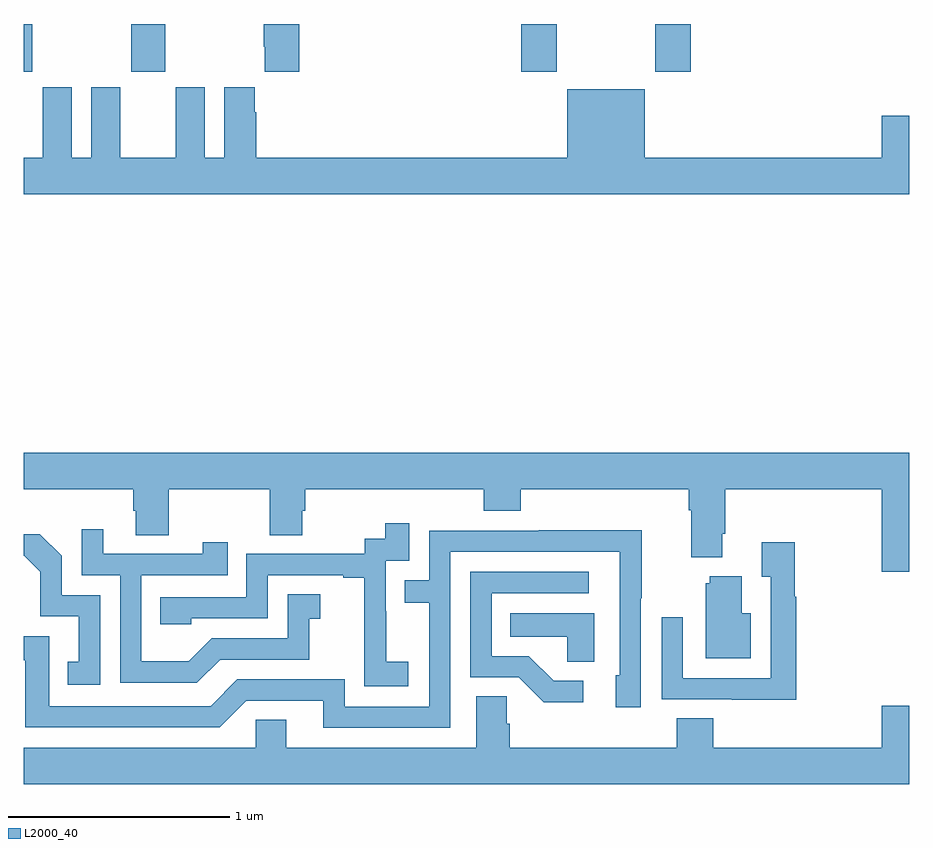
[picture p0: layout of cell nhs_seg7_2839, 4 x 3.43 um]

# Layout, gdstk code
import gdstk
lib = gdstk.Library(unit=1e-6, precision=1e-09)
def R(c, l, rs):  # rectangles x0, y0, x1, y1
    for r in rs: c.add(gdstk.rectangle(r[:2], r[2:], *l))
def P(c, l, *ps):  # polygons
    for p in ps: c.add(gdstk.Polygon(p, *l))
L2000_40 = (2000, 40)

nhs_seg7_2839 = lib.new_cell('nhs_seg7_2839')
R(nhs_seg7_2839, L2000_40, [(293,1051.785,293.04,1052), (293.485,1051.785,293.64,1052), (295.247,1051.785,295.407,1052), (295.852,1051.785,296.012,1052)])
P(nhs_seg7_2839, L2000_40, [(294.245,1052),(294.085,1052),(294.085,1051.897),(294.089,1051.897),(294.089,1051.785),(294.245,1051.785)],
  [(297,1051.585),(296.876,1051.585),(296.876,1051.396),(295.804,1051.396),(295.804,1051.705),(295.454,1051.705),(295.454,1051.396),(294.05,1051.396),(294.05,1051.601),(294.043,1051.601),(294.043,1051.714),(293.906,1051.714),(293.906,1051.396),(293.818,1051.396),(293.818,1051.714),(293.687,1051.714),(293.687,1051.396),(293.437,1051.396),(293.437,1051.714),(293.306,1051.714),(293.306,1051.396),(293.218,1051.396),(293.218,1051.714),(293.087,1051.714),(293.087,1051.396),(293,1051.396),(293,1051.232),(297,1051.232)],
  [(297,1050.064),(293,1050.064),(293,1049.9),(293.495,1049.9),(293.495,1049.802),(293.507,1049.802),(293.507,1049.692),(293.655,1049.692),(293.655,1049.9),(294.112,1049.9),(294.112,1049.692),(294.259,1049.692),(294.259,1049.802),(294.272,1049.802),(294.272,1049.9),(295.079,1049.9),(295.079,1049.801),(295.244,1049.801),(295.244,1049.9),(296.003,1049.9),(296.003,1049.804),(296.015,1049.804),(296.015,1049.591),(296.155,1049.591),(296.155,1049.698),(296.168,1049.698),(296.168,1049.9),(296.876,1049.9),(296.876,1049.526),(297,1049.526)],
  [(294.736,1049.119),(294.638,1049.119),(294.638,1049.348),(294.636,1049.348),(294.636,1049.577),(294.741,1049.577),(294.741,1049.746),(294.633,1049.746),(294.633,1049.676),(294.54,1049.676),(294.54,1049.607),(294.006,1049.607),(294.006,1049.412),(293.617,1049.412),(293.617,1049.289),(293.757,1049.289),(293.757,1049.316),(294.102,1049.316),(294.102,1049.511),(294.443,1049.511),(294.443,1049.499),(294.539,1049.499),(294.539,1049.215),(294.538,1049.215),(294.538,1049.009),(294.736,1049.009)],
  [(293.887,1049.13),(294.291,1049.13),(294.291,1049.315),(294.34,1049.315),(294.34,1049.425),(294.192,1049.425),(294.192,1049.226),(293.85,1049.226),(293.746,1049.122),(293.532,1049.122),(293.532,1049.511),(293.921,1049.511),(293.921,1049.659),(293.81,1049.659),(293.81,1049.607),(293.359,1049.607),(293.359,1049.719),(293.262,1049.719),(293.262,1049.511),(293.436,1049.511),(293.436,1049.025),(293.782,1049.025)],
  [(294.927,1049.616),(295.692,1049.616),(295.692,1049.058),(295.673,1049.058),(295.673,1048.914),(295.788,1048.914),(295.788,1049.407),(295.791,1049.407),(295.791,1049.714),(295.327,1049.714),(295.327,1049.712),(294.831,1049.712),(294.831,1049.487),(294.721,1049.487),(294.721,1049.386),(294.831,1049.386),(294.831,1048.917),(294.45,1048.917),(294.45,1049.04),(293.964,1049.04),(293.844,1048.92),(293.115,1048.92),(293.115,1049.235),(293,1049.235),(293,1049.127),(293.007,1049.127),(293.007,1048.824),(293.886,1048.824),(294.006,1048.944),(294.353,1048.944),(294.353,1048.821),(294.927,1048.821)],
  [(293.346,1049.421),(293.172,1049.421),(293.172,1049.598),(293.074,1049.696),(293,1049.696),(293,1049.598),(293.004,1049.598),(293.076,1049.526),(293.076,1049.325),(293.249,1049.325),(293.249,1049.121),(293.2,1049.121),(293.2,1049.016),(293.346,1049.016)],
  [(296.489,1049.414),(296.482,1049.414),(296.482,1049.659),(296.333,1049.659),(296.333,1049.503),(296.373,1049.503),(296.373,1049.046),(295.977,1049.046),(295.977,1049.32),(295.881,1049.32),(295.881,1048.95),(296.197,1048.95),(296.197,1048.949),(296.489,1048.949)],
  [(295.528,1049.034),(295.393,1049.034),(295.282,1049.145),(295.113,1049.145),(295.113,1049.43),(295.552,1049.43),(295.552,1049.526),(295.017,1049.526),(295.017,1049.049),(295.236,1049.049),(295.349,1048.937),(295.528,1048.937)],
  [(296.284,1049.338),(296.242,1049.338),(296.242,1049.506),(296.099,1049.506),(296.099,1049.475),(296.081,1049.475),(296.081,1049.135),(296.284,1049.135)],
  [(295.576,1049.338),(295.198,1049.338),(295.198,1049.234),(295.455,1049.234),(295.455,1049.119),(295.576,1049.119)],
  [(297,1048.921),(296.876,1048.921),(296.876,1048.732),(296.114,1048.732),(296.114,1048.865),(295.949,1048.865),(295.949,1048.732),(295.196,1048.732),(295.196,1048.841),(295.182,1048.841),(295.182,1048.964),(295.043,1048.964),(295.043,1048.732),(294.187,1048.732),(294.187,1048.859),(294.048,1048.859),(294.048,1048.732),(293,1048.732),(293,1048.568),(297,1048.568)])

lib.write_gds('nhs_seg7_2839.gds')
